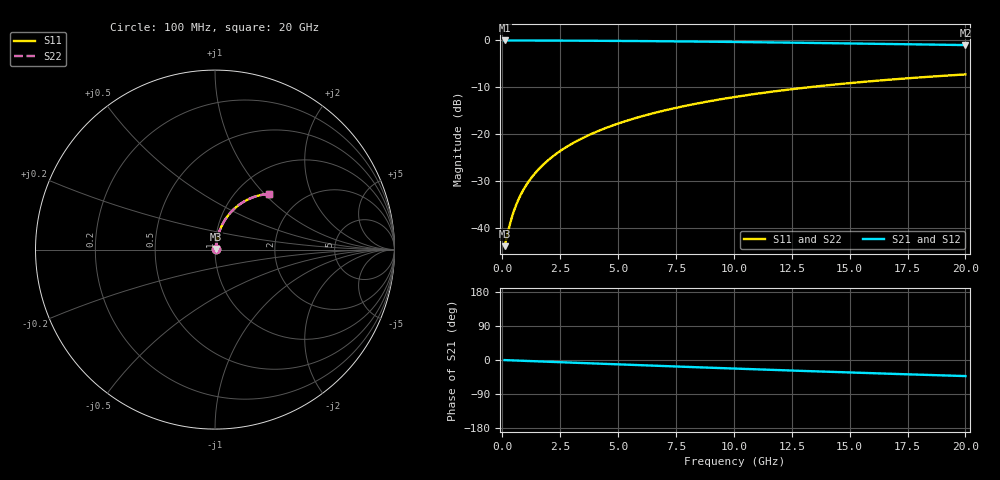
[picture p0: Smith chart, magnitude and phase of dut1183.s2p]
! Touchstone file exported from HFSS 2026.1.0
!  File:  C:/ffzhzh/LocalFiles/Ansys_Project_Files/temp_train_BSMRDL_1183_1783176179_22436.aedt
!  Generated:  10:44:09 PM Jul  4, 2026
!  Design:  BSMRDL
!  Project:  temp_train_BSMRDL_1183_1783176179_22436
! Variables:
!  h_bsmrdl = 2.46um
!  h_ox = 20um
!  h_rdl = 5um
!  h_sub = 80um
!  h_tmrdl = 5um
!  h_tsv = 80um
!  h_via = 3um
!  l_bsmrdl = 589.85um
!  l_sub = 989.85um
!  l_tmrdl = 200um
!  m_sub = 200um
!  pitch = 40.93um
!  r_tsv = 6um
!  s_tmrdl = 10um
!  w_bsmrdl = 14.99um
!  w_sub = 500um
!  w_tmrdl = 12um
!  x_tsv_center1 = 206um
!  x_tsv_center2 = 810.84um
!  x_tsv_center3 = 1022.84um
!  x_tsv_center4 = 1627.68um
!  x_tsv_center5 = 1839.68um
!  x_tsv_center6 = 2444.52um
# GHz S MA R 50.000000
! Terminal data exported
! Port[1] = BSM_RDL1_1_T1
! Port[2] = BSM_RDL1_1_T2
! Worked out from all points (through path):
!   200 points, 100 MHz to 20 GHz, reference 50 ohm
!   highest |S21| = -0.05 dB at 100 MHz (marker M1); lowest = -1.0 dB at 20 GHz (marker M2)
!   group delay of S21, straight-line fit = 5.91 ps
!   lowest |S11| = -43.8 dB at 100 MHz (marker M3), VSWR 1.01, Z = 50.6 + j0.285 ohm
!   |S11| at or under -10 dB: start of sweep to 13.24 GHz
!   |S22| runs from -43.8 to -7.3 dB; largest |S21 - S12| = 2.7e-15
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0.1  0.006463 25.9  0.9942 -0.2  0.9942 -0.2  0.006463 25.9
! Gamma 0 0 0 0
! Port Impedance 50 0 50 0
0.3  0.01037 53.9  0.994 -0.7  0.994 -0.7  0.01037 53.9
0.4  0.01278 60.3  0.9938 -1.0  0.9938 -1.0  0.01278 60.3
0.5  0.01527 64.5  0.9936 -1.2  0.9936 -1.2  0.01527 64.5
0.6  0.01779 67.4  0.9934 -1.4  0.9934 -1.4  0.01779 67.4
0.7  0.02032 69.6  0.9933 -1.7  0.9933 -1.7  0.02032 69.6
0.9  0.0254 72.4  0.9929 -2.1  0.9929 -2.1  0.0254 72.4
1.2  0.03304 74.9  0.9925 -2.8  0.9925 -2.8  0.03304 74.9
1.4  0.03815 76.0  0.9922 -3.3  0.9922 -3.3  0.03815 76.0
1.7  0.04583 76.9  0.9917 -4.0  0.9917 -4.0  0.04583 76.9
2.2  0.05866 77.6  0.9909 -5.1  0.9909 -5.1  0.05866 77.6
2.8  0.07408 77.6  0.9897 -6.5  0.9897 -6.5  0.07408 77.6
3.5  0.092 77.0  0.988 -8.1  0.988 -8.1  0.092 77.0
4.2  0.1098 76.1  0.986 -9.7  0.986 -9.7  0.1098 76.1
5  0.1299 74.8  0.9833 -11.5  0.9833 -11.5  0.1299 74.8
5.9  0.1523 73.2  0.9797 -13.6  0.9797 -13.6  0.1523 73.2
6.8  0.1742 71.5  0.9758 -15.6  0.9758 -15.6  0.1742 71.5
8.3  0.2098 68.5  0.9682 -18.9  0.9682 -18.9  0.2098 68.5
10.1  0.2506 64.8  0.9578 -22.8  0.9578 -22.8  0.2506 64.8
13.4  0.3194 58.2  0.9359 -29.7  0.9359 -29.7  0.3194 58.2
16.7  0.3803 51.9  0.9121 -36.2  0.9121 -36.2  0.3803 51.8
20  0.433 45.8  0.8879 -42.4  0.8879 -42.4  0.433 45.8
